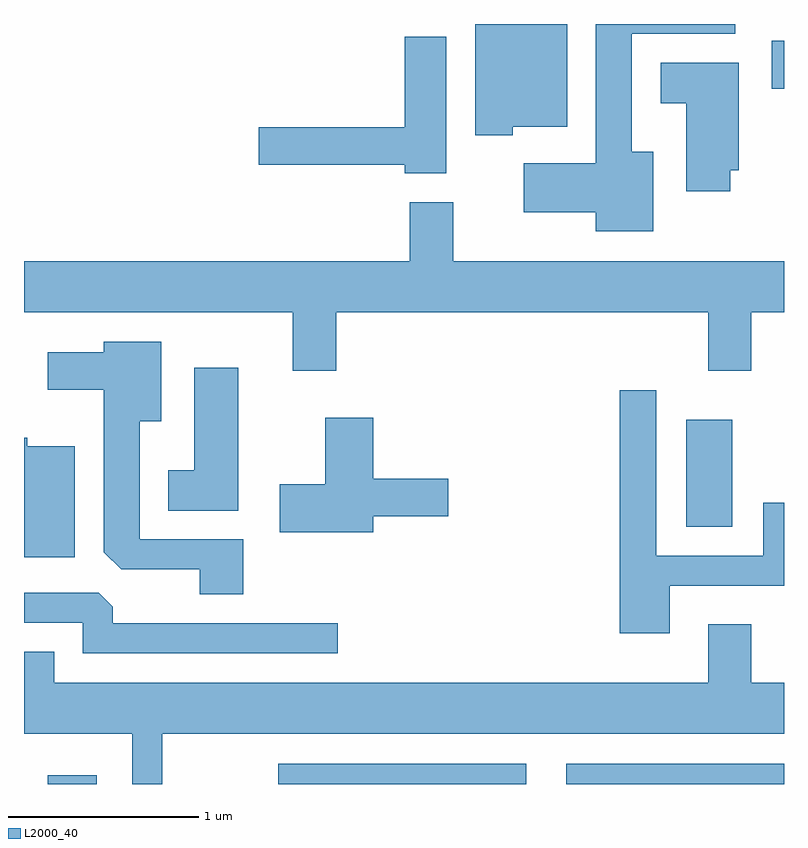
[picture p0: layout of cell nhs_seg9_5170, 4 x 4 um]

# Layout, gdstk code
import gdstk
lib = gdstk.Library(unit=1e-6, precision=1e-09)
def R(c, l, rs):  # rectangles x0, y0, x1, y1
    for r in rs: c.add(gdstk.rectangle(r[:2], r[2:], *l))
def P(c, l, *ps):  # polygons
    for p in ps: c.add(gdstk.Polygon(p, *l))
L2000_40 = (2000, 40)

nhs_seg9_5170 = lib.new_cell('nhs_seg9_5170')
R(nhs_seg9_5170, L2000_40, [(337.736,2000.432,337.994,2000.479), (338.948,2000.432,340.254,2000.539), (340.466,2000.432,341.611,2000.539), (341.096,2001.786,341.339,2002.349), (341.546,2004.091,341.611,2004.344)])
P(nhs_seg9_5170, L2000_40, [(340.924,2003.759),(340.809,2003.759),(340.809,2004.381),(341.354,2004.381),(341.354,2004.432),(340.621,2004.432),(340.621,2003.699),(340.241,2003.699),(340.241,2003.441),(340.621,2003.441),(340.621,2003.341),(340.924,2003.341)],
  [(340.184,2003.891),(340.469,2003.891),(340.469,2004.432),(339.986,2004.432),(339.986,2003.846),(340.184,2003.846)],
  [(339.834,2004.364),(339.616,2004.364),(339.616,2003.889),(338.846,2003.889),(338.846,2003.691),(339.616,2003.691),(339.616,2003.646),(339.834,2003.646)],
  [(341.329,2003.661),(341.374,2003.661),(341.374,2004.229),(340.961,2004.229),(340.961,2004.016),(341.096,2004.016),(341.096,2003.551),(341.329,2003.551)],
  [(339.254,2002.916),(341.211,2002.916),(341.211,2002.606),(341.439,2002.606),(341.439,2002.916),(341.611,2002.916),(341.611,2003.184),(339.869,2003.184),(339.869,2003.494),(339.641,2003.494),(339.641,2003.184),(337.611,2003.184),(337.611,2002.916),(339.026,2002.916),(339.026,2002.606),(339.254,2002.606)],
  [(338.764,2001.719),(338.219,2001.719),(338.219,2002.341),(338.334,2002.341),(338.334,2002.759),(338.031,2002.759),(338.031,2002.704),(337.736,2002.704),(337.736,2002.506),(338.031,2002.506),(338.031,2001.652),(338.122,2001.561),(338.536,2001.561),(338.536,2001.431),(338.764,2001.431)],
  [(338.739,2002.624),(338.506,2002.624),(338.506,2002.084),(338.371,2002.084),(338.371,2001.871),(338.739,2001.871)],
  [(341.009,2001.476),(341.611,2001.476),(341.611,2001.913),(341.501,2001.913),(341.501,2001.634),(340.939,2001.634),(340.939,2002.504),(340.746,2002.504),(340.746,2001.226),(341.009,2001.226)],
  [(339.449,2001.841),(339.844,2001.841),(339.844,2002.039),(339.449,2002.039),(339.449,2002.359),(339.196,2002.359),(339.196,2002.009),(338.956,2002.009),(338.956,2001.756),(339.449,2001.756)],
  [(337.879,2002.209),(337.629,2002.209),(337.629,2002.254),(337.611,2002.254),(337.611,2001.626),(337.879,2001.626)],
  [(339.263,2001.279),(338.079,2001.279),(338.079,2001.364),(338.004,2001.439),(337.611,2001.439),(337.611,2001.281),(337.921,2001.281),(337.921,2001.121),(339.263,2001.121)],
  [(338.339,2000.696),(341.611,2000.696),(341.611,2000.964),(341.439,2000.964),(341.439,2001.274),(341.211,2001.274),(341.211,2000.964),(337.769,2000.964),(337.769,2001.129),(337.611,2001.129),(337.611,2000.696),(338.181,2000.696),(338.181,2000.432),(338.339,2000.432)])

lib.write_gds('nhs_seg9_5170.gds')
